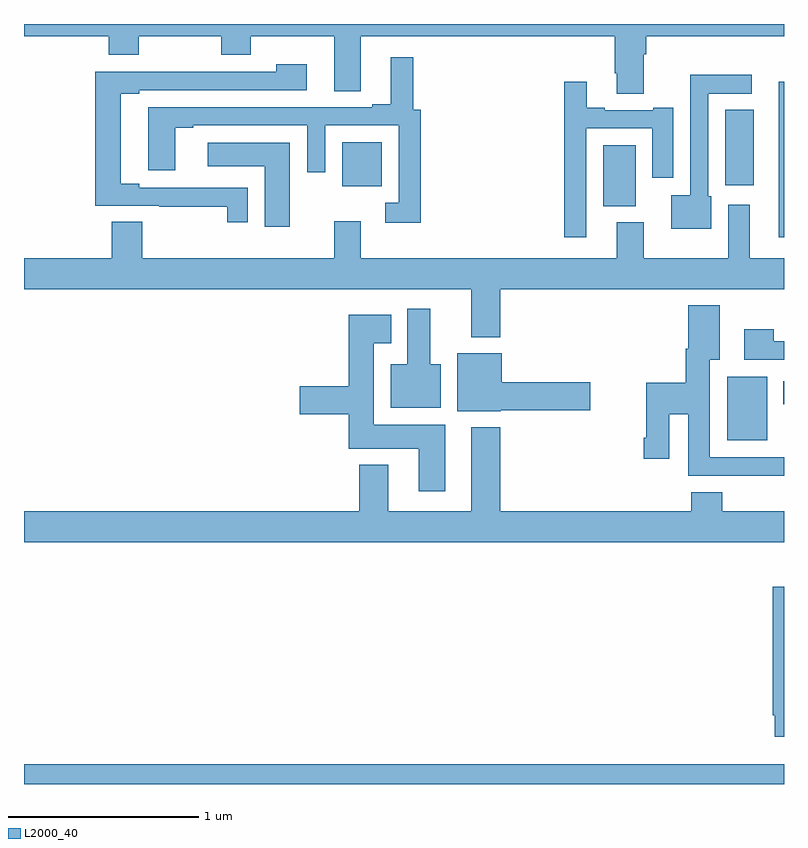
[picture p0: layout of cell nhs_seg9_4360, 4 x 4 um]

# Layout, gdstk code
import gdstk
lib = gdstk.Library(unit=1e-6, precision=1e-09)
def R(c, l, rs):  # rectangles x0, y0, x1, y1
    for r in rs: c.add(gdstk.rectangle(r[:2], r[2:], *l))
def P(c, l, *ps):  # polygons
    for p in ps: c.add(gdstk.Polygon(p, *l))
L2000_40 = (2000, 40)

nhs_seg9_4360 = lib.new_cell('nhs_seg9_4360')
R(nhs_seg9_4360, L2000_40, [(361,1176.5,365,1176.604), (364.7,1178.309,364.912,1178.644), (364.997,1178.498,365,1178.62), (364.973,1179.378,365,1180.195), (364.049,1179.542,364.219,1179.862), (362.675,1179.647,362.884,1179.877), (364.691,1179.651,364.84,1180.049)])
P(nhs_seg9_4360, L2000_40, [(364.261,1180.34),(364.274,1180.34),(364.274,1180.436),(365,1180.436),(365,1180.5),(361,1180.5),(361,1180.436),(361.445,1180.436),(361.445,1180.337),(361.605,1180.337),(361.605,1180.436),(362.038,1180.436),(362.038,1180.337),(362.193,1180.337),(362.193,1180.436),(362.633,1180.436),(362.633,1180.147),(362.773,1180.147),(362.773,1180.436),(364.109,1180.436),(364.109,1180.24),(364.121,1180.24),(364.121,1180.132),(364.261,1180.132)],
  [(363.089,1180.05),(363.049,1180.05),(363.049,1180.324),(362.93,1180.324),(362.93,1180.077),(362.834,1180.077),(362.834,1180.062),(361.655,1180.062),(361.655,1179.729),(361.795,1179.729),(361.795,1179.954),(361.891,1179.954),(361.891,1179.966),(362.49,1179.966),(362.49,1179.72),(362.586,1179.72),(362.586,1179.966),(362.973,1179.966),(362.973,1179.558),(362.901,1179.558),(362.901,1179.453),(363.089,1179.453)],
  [(362.178,1179.639),(361.606,1179.639),(361.606,1179.659),(361.51,1179.659),(361.51,1180.132),(361.606,1180.132),(361.606,1180.152),(362.488,1180.152),(362.488,1180.288),(362.327,1180.288),(362.327,1180.248),(361.949,1180.248),(361.949,1180.25),(361.693,1180.25),(361.693,1180.248),(361.376,1180.248),(361.376,1179.543),(361.711,1179.543),(361.711,1179.538),(362.07,1179.538),(362.07,1179.456),(362.178,1179.456)],
  [(364.618,1179.594),(364.602,1179.594),(364.602,1180.134),(364.831,1180.134),(364.831,1180.232),(364.506,1180.232),(364.506,1179.598),(364.406,1179.598),(364.406,1179.422),(364.618,1179.422)],
  [(363.96,1179.951),(364.307,1179.951),(364.307,1179.69),(364.417,1179.69),(364.417,1180.06),(364.313,1180.06),(364.313,1180.047),(364.057,1180.047),(364.057,1180.06),(363.961,1180.06),(363.961,1180.195),(363.844,1180.195),(363.844,1179.378),(363.96,1179.378)],
  [(362.398,1179.874),(361.968,1179.874),(361.968,1179.752),(362.267,1179.752),(362.267,1179.432),(362.398,1179.432)],
  [(363.506,1179.104),(365,1179.104),(365,1179.268),(364.819,1179.268),(364.819,1179.55),(364.706,1179.55),(364.706,1179.268),(364.261,1179.268),(364.261,1179.457),(364.121,1179.457),(364.121,1179.268),(362.773,1179.268),(362.773,1179.463),(362.633,1179.463),(362.633,1179.268),(361.623,1179.268),(361.623,1179.458),(361.463,1179.458),(361.463,1179.268),(361,1179.268),(361,1179.104),(363.353,1179.104),(363.353,1178.852),(363.506,1178.852)],
  [(365,1178.22),(364.609,1178.22),(364.609,1178.732),(364.663,1178.732),(364.663,1179.019),(364.496,1179.019),(364.496,1178.792),(364.484,1178.792),(364.484,1178.612),(364.274,1178.612),(364.274,1178.323),(364.262,1178.323),(364.262,1178.211),(364.396,1178.211),(364.396,1178.447),(364.496,1178.447),(364.496,1178.123),(365,1178.123)],
  [(363.193,1178.71),(363.139,1178.71),(363.139,1179.001),(363.017,1179.001),(363.017,1178.71),(362.93,1178.71),(362.93,1178.48),(363.193,1178.48)],
  [(363.217,1178.392),(362.842,1178.392),(362.842,1178.819),(362.932,1178.819),(362.932,1178.971),(362.708,1178.971),(362.708,1178.594),(362.451,1178.594),(362.451,1178.447),(362.708,1178.447),(362.708,1178.264),(363.077,1178.264),(363.077,1178.04),(363.217,1178.04)],
  [(365,1178.829),(364.947,1178.829),(364.947,1178.893),(364.791,1178.893),(364.791,1178.733),(365,1178.733)],
  [(363.51,1178.468),(363.979,1178.468),(363.979,1178.615),(363.514,1178.615),(363.514,1178.767),(363.281,1178.767),(363.281,1178.462),(363.51,1178.462)],
  [(365,1177.936),(364.676,1177.936),(364.676,1178.035),(364.511,1178.035),(364.511,1177.936),(363.506,1177.936),(363.506,1178.377),(363.353,1178.377),(363.353,1177.936),(362.917,1177.936),(362.917,1178.179),(362.765,1178.179),(362.765,1177.936),(361,1177.936),(361,1177.772),(365,1177.772)],
  [(365,1177.537),(364.94,1177.537),(364.94,1176.862),(364.952,1176.862),(364.952,1176.75),(365,1176.75)])

lib.write_gds('nhs_seg9_4360.gds')
